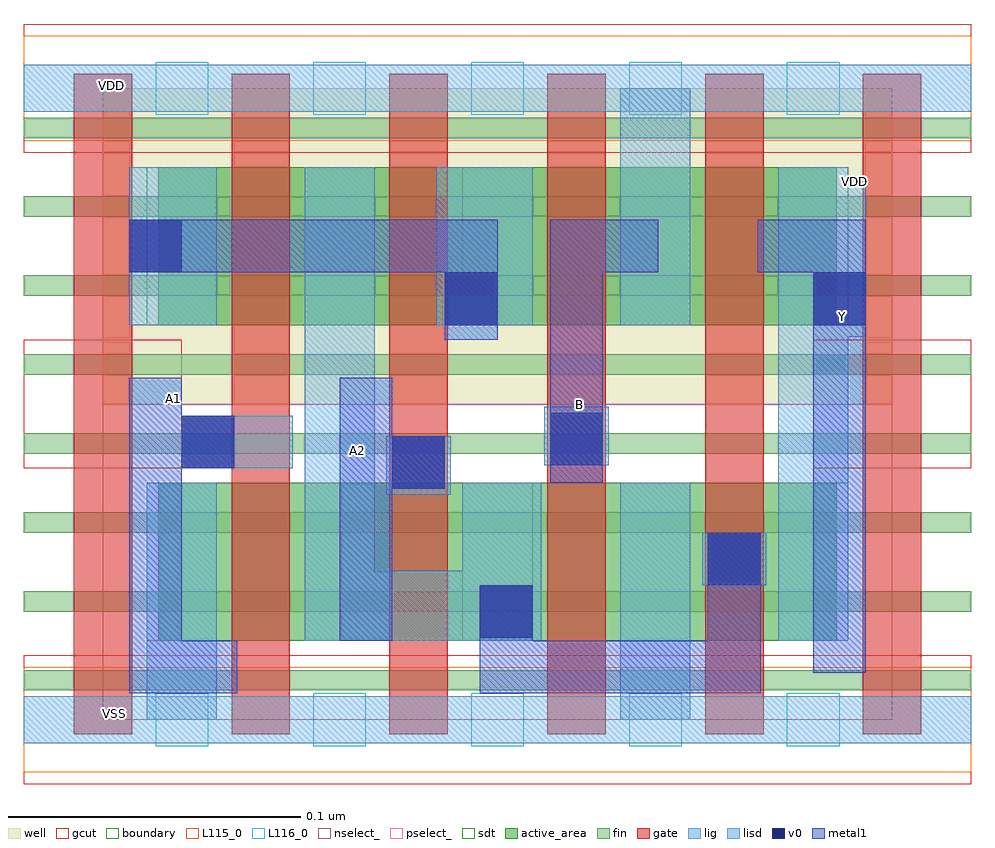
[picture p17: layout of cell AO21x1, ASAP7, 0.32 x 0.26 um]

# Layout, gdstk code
import gdstk
lib = gdstk.Library(unit=1e-6, precision=2.5e-10)
def R(c, l, rs):  # rectangles x0, y0, x1, y1
    for r in rs: c.add(gdstk.rectangle(r[:2], r[2:], *l))
def A(c, l, x, y, w, h, nx, ny, dx, dy):  # array of equal rectangles
    R(c, l, [(x+i*dx, y+j*dy, x+i*dx+w, y+j*dy+h) for i in range(nx) for j in range(ny)])
def P(c, l, *ps):  # polygons
    for p in ps: c.add(gdstk.Polygon(p, *l))
well = (1, 0)
fin = (2, 0)
gate = (7, 0)
gcut = (10, 0)
active_area = (11, 0)
nselect_ = (12, 0)
pselect_ = (13, 0)
lig = (16, 0)
lisd = (17, 0)
v0 = (18, 0)
metal1 = (19, 0)
sdt = (88, 0)
boundary = (100, 0)
L115_0 = (115, 0)
L116_0 = (116, 0)

ao21x1 = lib.new_cell('AO21x1')
R(ao21x1, well, [(0,0.108,0.27,0.216)])
A(ao21x1, fin, -0.027, 0.01, 0.324, 0.007, 1, 8, 0, 0.027)
A(ao21x1, gate, -0.01, -0.005, 0.02, 0.226, 6, 1, 0.054, 0)
R(ao21x1, gate, [(0.26,-0.005,0.28,0.221), (0.26,-0.005,0.28,0.221), (0.26,-0.005,0.28,0.221), (0.26,-0.005,0.28,0.221), (0.26,-0.005,0.28,0.221)])
R(ao21x1, gcut, [(-0.027,-0.022,0.297,0.022), (-0.027,0.086,0.027,0.13), (0.243,0.086,0.297,0.13), (-0.027,0.194,0.297,0.238)])
R(ao21x1, active_area, [(0.019,0.027,0.251,0.081), (0.019,0.135,0.251,0.189)])
R(ao21x1, nselect_, [(0,0,0.27,0.108)])
R(ao21x1, pselect_, [(0,0.108,0.27,0.216)])
R(ao21x1, lig, [(-0.027,-0.008,0.297,0.008), (0.205,0.046,0.227,0.064), (0.097,0.077,0.119,0.097), (0.027,0.086,0.065,0.104), (0.151,0.087,0.173,0.107), (-0.027,0.208,0.297,0.224)])
R(ao21x1, lisd, [(0.015,0,0.039,0.081), (0.177,0,0.201,0.081), (0.231,0.027,0.255,0.189), (0.231,0.131,0.261,0.185), (0.009,0.135,0.039,0.189), (0.114,0.135,0.147,0.189), (0.177,0.135,0.201,0.216)])
P(ao21x1, lisd, [(0.15,0.081),(0.123,0.081),(0.123,0.051),(0.093,0.051),(0.093,0.189),(0.069,0.189),(0.069,0.027),(0.15,0.027)])
R(ao21x1, v0, [(0.129,0.028,0.147,0.046), (0.207,0.046,0.225,0.064), (0.099,0.079,0.117,0.097), (0.027,0.086,0.045,0.104), (0.153,0.087,0.171,0.105), (0.117,0.135,0.135,0.153), (0.243,0.135,0.261,0.153), (0.009,0.153,0.027,0.171)])
R(ao21x1, metal1, [(0.009,0.009,0.046,0.027), (0.009,0.009,0.027,0.117), (0.129,0.009,0.147,0.046), (0.129,0.009,0.225,0.027), (0.207,0.009,0.225,0.064), (0.243,0.016,0.261,0.171), (0.081,0.027,0.099,0.117), (0.081,0.079,0.117,0.097), (0.153,0.081,0.171,0.171), (0.009,0.086,0.045,0.104), (0.117,0.13,0.135,0.171), (0.009,0.153,0.135,0.171), (0.153,0.153,0.19,0.171), (0.224,0.153,0.261,0.171)])
A(ao21x1, sdt, 0.123, 0.027, 0.024, 0.054, 3, 1, 0.054, 0)
A(ao21x1, sdt, 0.015, 0.135, 0.024, 0.054, 5, 1, 0.054, 0)
R(ao21x1, sdt, [(0.015,0.027,0.039,0.081)])
R(ao21x1, boundary, [(0,0,0.27,0.216)])
R(ao21x1, L115_0, [(-0.027,-0.018,0.297,0.018), (-0.027,0.198,0.297,0.234)])
A(ao21x1, L116_0, 0.018, -0.009, 0.018, 0.018, 5, 2, 0.054, 0.216)
ao21x1.add(gdstk.Label('Y', (0.253,0.138), layer=19, texttype=251))
ao21x1.add(gdstk.Label('B', (0.163,0.108), layer=19, texttype=251))
ao21x1.add(gdstk.Label('A2', (0.087,0.092), layer=19, texttype=251))
ao21x1.add(gdstk.Label('A1', (0.024,0.11), layer=19, texttype=251))
ao21x1.add(gdstk.Label('VDD', (0.257,0.184), layer=1, texttype=251))
ao21x1.add(gdstk.Label('VSS', (0.326,0.183), layer=3, texttype=251))
ao21x1.add(gdstk.Label('VSS', (0.004,0.002), layer=115, texttype=251))
ao21x1.add(gdstk.Label('VDD', (0.003,0.217), layer=115, texttype=251))

lib.write_gds('AO21x1.gds')
